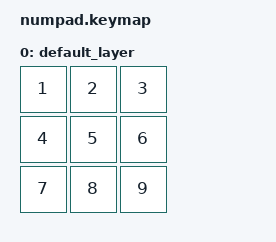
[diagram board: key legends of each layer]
/ {
    keymap {
        compatible = "zmk,keymap";

        default_layer {
            bindings = <
                &kp N1 &kp N2 &kp N3
                &kp N4 &kp N5 &kp N6
                &kp N7 &kp N8 &kp N9
            >;
        };
    };
};
